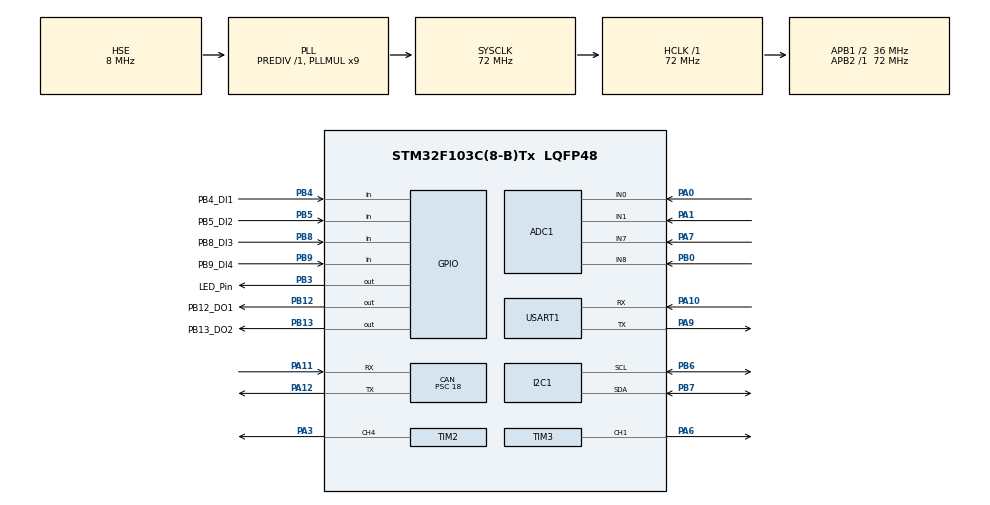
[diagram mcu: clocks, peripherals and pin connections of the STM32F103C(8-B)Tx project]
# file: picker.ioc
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ADC1.Channel-0\#ChannelRegularConversion=ADC_CHANNEL_8
ADC1.Channel-1\#ChannelRegularConversion=ADC_CHANNEL_7
ADC1.Channel-2\#ChannelRegularConversion=ADC_CHANNEL_0
ADC1.Channel-3\#ChannelRegularConversion=ADC_CHANNEL_1
ADC1.ContinuousConvMode=ENABLE
ADC1.NbrOfConversion=4
ADC1.NbrOfConversionFlag=1
ADC1.Rank-0\#ChannelRegularConversion=1
ADC1.Rank-1\#ChannelRegularConversion=2
ADC1.Rank-2\#ChannelRegularConversion=3
ADC1.Rank-3\#ChannelRegularConversion=4
ADC1.SamplingTime-0\#ChannelRegularConversion=ADC_SAMPLETIME_55CYCLES_5
ADC1.SamplingTime-1\#ChannelRegularConversion=ADC_SAMPLETIME_55CYCLES_5
ADC1.SamplingTime-2\#ChannelRegularConversion=ADC_SAMPLETIME_55CYCLES_5
ADC1.SamplingTime-3\#ChannelRegularConversion=ADC_SAMPLETIME_55CYCLES_5
ADC1.master=1
CAN.BS1=CAN_BS1_3TQ
CAN.BS2=CAN_BS2_4TQ
CAN.CalculateBaudRate=250000
CAN.CalculateTimeBit=4000
CAN.CalculateTimeQuantum=500.0
CAN.Prescaler=18
Dma.ADC1.0.Direction=DMA_PERIPH_TO_MEMORY
Dma.ADC1.0.Instance=DMA1_Channel1
Dma.ADC1.0.MemDataAlignment=DMA_MDATAALIGN_HALFWORD
Dma.ADC1.0.MemInc=DMA_MINC_ENABLE
Dma.ADC1.0.Mode=DMA_CIRCULAR
Dma.ADC1.0.PeriphDataAlignment=DMA_PDATAALIGN_HALFWORD
Dma.ADC1.0.PeriphInc=DMA_PINC_DISABLE
Dma.ADC1.0.Priority=DMA_PRIORITY_VERY_HIGH
Dma.Request0=ADC1
FREERTOS.Tasks01=defaultTask,0,64,StartDefaultTask,Default,NULL,Dynamic,NULL,NULL;MyHeartTask,3,64,Task_MyHeart,Default,NULL,Dynamic,NULL,NULL;CAN_TxTask,2,64,Task_CAN_Tx,Default,NULL,Dynamic,NULL,NULL;Collect_Process,-3,64,Task_Collec_ProcessData,Default,NULL,Dynamic,NULL,NULL
FREERTOS.configMINIMAL_STACK_SIZE=64
IWDG.Prescaler=IWDG_PRESCALER_64
Mcu.Family=STM32F1
Mcu.Name=STM32F103C(8-B)Tx
Mcu.Package=LQFP48
NVIC.DMA1_Channel1_IRQn=true\:5\:0\:false\:false\:true\:true\:false\:true
NVIC.PriorityGroup=NVIC_PRIORITYGROUP_4
NVIC.TIM1_UP_IRQn=true\:15\:0\:false\:false\:true\:false\:false\:true
NVIC.TimeBase=TIM1_UP_IRQn
NVIC.TimeBaseIP=TIM1
NVIC.USB_LP_CAN1_RX0_IRQn=true\:5\:0\:false\:false\:true\:true\:true\:true
PA0-WKUP.Signal=ADCx_IN0
PA1.Signal=ADCx_IN1
PA10.Mode=Asynchronous
PA10.Signal=USART1_RX
PA11.Mode=CAN_Activate
PA11.Signal=CAN_RX
PA12.Mode=CAN_Activate
PA12.Signal=CAN_TX
PA13.Mode=Serial_Wire
PA13.Signal=SYS_JTMS-SWDIO
PA14.Mode=Serial_Wire
PA14.Signal=SYS_JTCK-SWCLK
PA3.Signal=S_TIM2_CH4
PA6.Signal=S_TIM3_CH1
PA7.Signal=ADCx_IN7
PA9.Mode=Asynchronous
PA9.Signal=USART1_TX
PB0.Signal=ADCx_IN8
PB12.GPIO_Label=PB12_DO1
PB12.Signal=GPIO_Output
PB13.GPIO_Label=PB13_DO2
PB13.Signal=GPIO_Output
PB3.GPIO_Label=LED_Pin
PB3.Signal=GPIO_Output
PB4.GPIO_Label=PB4_DI1
PB4.Signal=GPIO_Input
PB5.GPIO_Label=PB5_DI2
PB5.Signal=GPIO_Input
PB6.Mode=I2C
PB6.Signal=I2C1_SCL
PB7.Mode=I2C
PB7.Signal=I2C1_SDA
PB8.GPIO_Label=PB8_DI3
PB8.Signal=GPIO_Input
PB9.GPIO_Label=PB9_DI4
PB9.Signal=GPIO_Input
PD0-OSC_IN.Mode=HSE-External-Oscillator
PD0-OSC_IN.Signal=RCC_OSC_IN
PD1-OSC_OUT.Mode=HSE-External-Oscillator
PD1-OSC_OUT.Signal=RCC_OSC_OUT
ProjectManager.HeapSize=0x200
ProjectManager.StackSize=0x400
ProjectManager.TargetToolchain=MDK-ARM V5
RCC.ADCPresc=RCC_ADCPCLK2_DIV6
RCC.AHBFreq_Value=72000000
RCC.APB1CLKDivider=RCC_HCLK_DIV2
RCC.APB1Freq_Value=36000000
RCC.APB1TimFreq_Value=72000000
RCC.APB2Freq_Value=72000000
RCC.APB2TimFreq_Value=72000000
RCC.HCLKFreq_Value=72000000
RCC.PLLMUL=RCC_PLL_MUL9
RCC.PLLSourceVirtual=RCC_PLLSOURCE_HSE
RCC.SYSCLKFreq_VALUE=72000000
RCC.SYSCLKSource=RCC_SYSCLKSOURCE_PLLCLK
RCC.USBFreq_Value=72000000
SH.ADCx_IN0.0=ADC1_IN0,IN0
SH.ADCx_IN1.0=ADC1_IN1,IN1
SH.ADCx_IN7.0=ADC1_IN7,IN7
SH.ADCx_IN8.0=ADC1_IN8,IN8
SH.S_TIM2_CH4.0=TIM2_CH4,PWM Generation4 CH4
SH.S_TIM3_CH1.0=TIM3_CH1,PWM Generation1 CH1
TIM2.AutoReloadPreload=TIM_AUTORELOAD_PRELOAD_ENABLE
TIM2.Channel-PWM\ Generation4\ CH4=TIM_CHANNEL_4
TIM2.Period=1000-1
TIM2.Prescaler=360-1
TIM3.AutoReloadPreload=TIM_AUTORELOAD_PRELOAD_ENABLE
TIM3.Channel-PWM\ Generation1\ CH1=TIM_CHANNEL_1
TIM3.Period=1000-1
TIM3.Prescaler=360-1
USART1.VirtualMode=VM_ASYNC
VP_FREERTOS_VS_CMSIS_V1.Mode=CMSIS_V1
VP_IWDG_VS_IWDG.Mode=IWDG_Activate
VP_SYS_VS_tim1.Mode=TIM1
VP_TIM2_VS_ClockSourceINT.Mode=Internal
VP_TIM3_VS_ClockSourceINT.Mode=Internal
board=custom

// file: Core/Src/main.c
/* USER CODE BEGIN Header */
/**
  ******************************************************************************
  * @file           : main.c
  * @brief          : Main program body
  ******************************************************************************
  * @attention
  *
  * Copyright (c) 2022 STMicroelectronics.
  * All rights reserved.
  *
  * This software is licensed under terms that can be found in the LICENSE file
  * in the root directory of this software component.
  * If no LICENSE file comes with this software, it is provided AS-IS.
  *
  ******************************************************************************
  */
/* USER CODE END Header */
#include "main.h"
#include "cmsis_os.h"
#include "adc.h"
#include "can.h"
#include "dma.h"
#include "i2c.h"
#include "iwdg.h"
#include "tim.h"
#include "usart.h"
#include "gpio.h"

void SystemClock_Config(void);
void MX_FREERTOS_Init(void);

int main(void)
{

  /* MCU Configuration--------------------------------------------------------*/

  /* Reset of all peripherals, Initializes the Flash interface and the Systick. */
  HAL_Init();

  /* Configure the system clock */
  SystemClock_Config();

  /* Initialize all configured peripherals */
  MX_GPIO_Init();
  MX_CAN_Init();
  MX_I2C1_Init();
  MX_TIM2_Init();
  MX_TIM3_Init();
  MX_USART1_UART_Init();
	MX_DMA_Init();
  MX_ADC1_Init();
  MX_IWDG_Init();
  /* USER CODE BEGIN 2 */
	CAN_User_Init();
	HAL_ADCEx_Calibration_Start(&hadc1);
	#if 1
	printf("CAN Init OK!!\r\n");
	printf("All Init OK!!\r\n");
	#endif
	HAL_TIM_PWM_Start(&htim2,TIM_CHANNEL_4);
	HAL_TIM_PWM_Start(&htim3,TIM_CHANNEL_1);
	if(HAL_ADC_Start_DMA(&hadc1, (uint32_t*)&data_collect.ADC1_Val_Buffer, ADC1_CHANNEL_CNT) != HAL_OK)
  {
    Error_Handler();
  }
	Default_Data_Init();
	EEPROM_DATA_Init();

  /* USER CODE END 2 */

  /* Call init function for freertos objects (in freertos.c) */
  MX_FREERTOS_Init();
  /* Start scheduler */
  osKernelStart();

  /* We should never get here as control is now taken by the scheduler */
  /* Infinite loop */
  while (1)
  {

  }
}

void SystemClock_Config(void)
{
  RCC_OscInitTypeDef RCC_OscInitStruct = {0};
  RCC_ClkInitTypeDef RCC_ClkInitStruct = {0};
  RCC_PeriphCLKInitTypeDef PeriphClkInit = {0};

  /** Initializes the RCC Oscillators according to the specified parameters
  * in the RCC_OscInitTypeDef structure.
  */
  RCC_OscInitStruct.OscillatorType = RCC_OSCILLATORTYPE_LSI|RCC_OSCILLATORTYPE_HSE;
  RCC_OscInitStruct.HSEState = RCC_HSE_ON;
  RCC_OscInitStruct.HSEPredivValue = RCC_HSE_PREDIV_DIV1;
  RCC_OscInitStruct.HSIState = RCC_HSI_ON;
  RCC_OscInitStruct.LSIState = RCC_LSI_ON;
  RCC_OscInitStruct.PLL.PLLState = RCC_PLL_ON;
  RCC_OscInitStruct.PLL.PLLSource = RCC_PLLSOURCE_HSE;
  RCC_OscInitStruct.PLL.PLLMUL = RCC_PLL_MUL9;
  if (HAL_RCC_OscConfig(&RCC_OscInitStruct) != HAL_OK)
  {
    Error_Handler();
  }
  /** Initializes the CPU, AHB and APB buses clocks
  */
  RCC_ClkInitStruct.ClockType = RCC_CLOCKTYPE_HCLK|RCC_CLOCKTYPE_SYSCLK
                              |RCC_CLOCKTYPE_PCLK1|RCC_CLOCKTYPE_PCLK2;
  RCC_ClkInitStruct.SYSCLKSource = RCC_SYSCLKSOURCE_PLLCLK;
  RCC_ClkInitStruct.AHBCLKDivider = RCC_SYSCLK_DIV1;
  RCC_ClkInitStruct.APB1CLKDivider = RCC_HCLK_DIV2;
  RCC_ClkInitStruct.APB2CLKDivider = RCC_HCLK_DIV1;

  if (HAL_RCC_ClockConfig(&RCC_ClkInitStruct, FLASH_LATENCY_2) != HAL_OK)
  {
    Error_Handler();
  }
  PeriphClkInit.PeriphClockSelection = RCC_PERIPHCLK_ADC;
  PeriphClkInit.AdcClockSelection = RCC_ADCPCLK2_DIV6;
  if (HAL_RCCEx_PeriphCLKConfig(&PeriphClkInit) != HAL_OK)
  {
    Error_Handler();
  }
}

void HAL_TIM_PeriodElapsedCallback(TIM_HandleTypeDef *htim)
{
  if (htim->Instance == TIM1) {
    HAL_IncTick();
  }
}

void Error_Handler(void)
{
  __disable_irq();
  while (1)
  {
  }
}

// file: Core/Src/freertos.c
/* USER CODE BEGIN Header */
/**
  ******************************************************************************
  * File Name          : freertos.c
  * Description        : Code for freertos applications
  ******************************************************************************
  * @attention
  *
  * Copyright (c) 2022 STMicroelectronics.
  * All rights reserved.
  *
  * This software is licensed under terms that can be found in the LICENSE file
  * in the root directory of this software component.
  * If no LICENSE file comes with this software, it is provided AS-IS.
  *
  ******************************************************************************
  */
/* USER CODE END Header */

#include "FreeRTOS.h"
#include "task.h"
#include "main.h"
#include "cmsis_os.h"

/* USER CODE BEGIN Includes */

#include "usart.h"
#include "can.h"
#include "iwdg.h"
#include "i2c.h"
#include "tim.h"
#include "adc.h"

/* USER CODE END Includes */

/* USER CODE BEGIN Variables */
DATA_COLLECT data_collect;
DATA_STORAGE data_storage;
DATA_RESULT  data_result;
BIT_FLAG		 bit_flag;
OUT_PAR			 out_par;

/* USER CODE END Variables */
osThreadId defaultTaskHandle;
osThreadId MyHeartTaskHandle;
osThreadId CAN_TxTaskHandle;
osThreadId Collect_ProcessHandle;

void StartDefaultTask(void const * argument);
void Task_MyHeart(void const * argument);
void Task_CAN_Tx(void const * argument);
void Task_Collec_ProcessData(void const * argument);

void MX_FREERTOS_Init(void); /* (MISRA C 2004 rule 8.1) */

/* GetIdleTaskMemory prototype (linked to static allocation support) */
void vApplicationGetIdleTaskMemory( StaticTask_t **ppxIdleTaskTCBBuffer, StackType_t **ppxIdleTaskStackBuffer, uint32_t *pulIdleTaskStackSize );

/* USER CODE BEGIN GET_IDLE_TASK_MEMORY */
static StaticTask_t xIdleTaskTCBBuffer;
static StackType_t xIdleStack[configMINIMAL_STACK_SIZE];

void vApplicationGetIdleTaskMemory( StaticTask_t **ppxIdleTaskTCBBuffer, StackType_t **ppxIdleTaskStackBuffer, uint32_t *pulIdleTaskStackSize )
{
  *ppxIdleTaskTCBBuffer = &xIdleTaskTCBBuffer;
  *ppxIdleTaskStackBuffer = &xIdleStack[0];
  *pulIdleTaskStackSize = configMINIMAL_STACK_SIZE;
  /* place for user code */
}
/* USER CODE END GET_IDLE_TASK_MEMORY */

void MX_FREERTOS_Init(void) {

  /* Create the thread(s) */
  /* definition and creation of defaultTask */
  osThreadDef(defaultTask, StartDefaultTask, osPriorityNormal, 0, 64);
  defaultTaskHandle = osThreadCreate(osThread(defaultTask), NULL);

  /* definition and creation of MyHeartTask */
  osThreadDef(MyHeartTask, Task_MyHeart, osPriorityRealtime, 0, 64);
  MyHeartTaskHandle = osThreadCreate(osThread(MyHeartTask), NULL);

  /* definition and creation of CAN_TxTask */
  osThreadDef(CAN_TxTask, Task_CAN_Tx, osPriorityHigh, 0, 64);
  CAN_TxTaskHandle = osThreadCreate(osThread(CAN_TxTask), NULL);

  /* definition and creation of Collect_Process */
  osThreadDef(Collect_Process, Task_Collec_ProcessData, osPriorityIdle, 0, 64);
  Collect_ProcessHandle = osThreadCreate(osThread(Collect_Process), NULL);

}

void StartDefaultTask(void const * argument)
{
  /* USER CODE BEGIN StartDefaultTask */
	osDelay(500);//此延时用于角度传感器最大最小值校准
  /* Infinite loop */
  for(;;)
  {
   if (bit_flag.Write_EEPROM_H_Flag == 1)
		{
			AT24C02_WriteLenByte(Addr_SetHeight,data_storage.SetHeight,1);
			osDelay(10);
			#if DEBUG
			printf("SetHeight = %d \r\n", data_storage.SetHeight);
			#endif
			bit_flag.Write_EEPROM_H_Flag = 0;
		}

		if (bit_flag.Write_EEPROM_PWM_S_R_Flag == 1)
		{
			AT24C02_WriteLenByte(Addr_PWM_Value_Down,data_storage.PWM_Value_Down,2);
			osDelay(10);
			AT24C02_WriteLenByte(Addr_PWM_Value_Up,data_storage.PWM_Value_Up,2);
			osDelay(10);
			AT24C02_WriteLenByte(Addr_Sensitivity,data_storage.Sensitivity,1);
			osDelay(10);
			AT24C02_WriteLenByte(Addr_Rapidity,data_storage.Rapidity,1);
			osDelay(10);
			#if DEBUG
			printf("PWM_Value_Down = %d \r\n", data_storage.PWM_Value_Down);
			printf("PWM_Value_Up 	 = %d \r\n", data_storage.PWM_Value_Up);
			printf("data_storage.Sensitivity = %d \r\n", data_storage.Sensitivity);
			printf("data_storage.Rapidity    = %d \r\n", data_storage.Rapidity);
			#endif
			bit_flag.Write_EEPROM_PWM_S_R_Flag = 0;
		}

		//角度传感器最大最小值校准
		if(bit_flag.Calibration_Flag == 1)
		{
			Hegiht_Calibration();
			bit_flag.Calibration_Flag = 0;
		}
    osDelay(10);
  }
  /* USER CODE END StartDefaultTask */
}

void Task_MyHeart(void const * argument)
{
  /* USER CODE BEGIN Task_MyHeart */
	#if 1
	uint16_t t;
	#endif

  /* Infinite loop */
  for(;;)
  {
		HAL_IWDG_Refresh(&hiwdg);
		HAL_GPIO_TogglePin(LED_Pin_GPIO_Port,LED_Pin_Pin);
		#if 1
    printf("LED OK!!  %d \r\n",t++);
		if(t > 300)
		{
			t =300;
		}
		#endif
    osDelay(500);
  }
  /* USER CODE END Task_MyHeart */
}

void Task_CAN_Tx(void const * argument)
{
  /* USER CODE BEGIN Task_CAN_Tx */
	osDelay(1000);
  /* Infinite loop */
  for(;;)
  {

		CAN_Transmit_C1D7();
		osDelay(10);
		CAN_Transmit_C2D7orD8();
		osDelay(10);
		CAN_Transmit_C4D7orD8();
		osDelay(10);
		CAN_Transmit_C5D7orD8();
		osDelay(10);
		CAN_Transmit_C6D7orD8();
		osDelay(10);
		CAN_Transmit_C7D7orD8();
		osDelay(10);
		CAN_Transmit_C8D7orD8();
		osDelay(10);
		if(bit_flag.Calibration_Success == 1)
		{
			CAN_Transmit_Calibration();
			osDelay(10);
			bit_flag.Calibration_Success = 0;
		}
		osDelay(20);

	}
  /* USER CODE END Task_CAN_Tx */
}

void Task_Collec_ProcessData(void const * argument)
{
  /* USER CODE BEGIN Task_Collec_ProcessData */

  /* Infinite loop */
  for(;;)
  {

		/*********数据采集*********/
		Collect_Data();

		/*********数据处理*********/
		Process_Data();

		/*********输出*************/
		Control_Out();

    osDelay(10);
  }
  /* USER CODE END Task_Collec_ProcessData */
}
